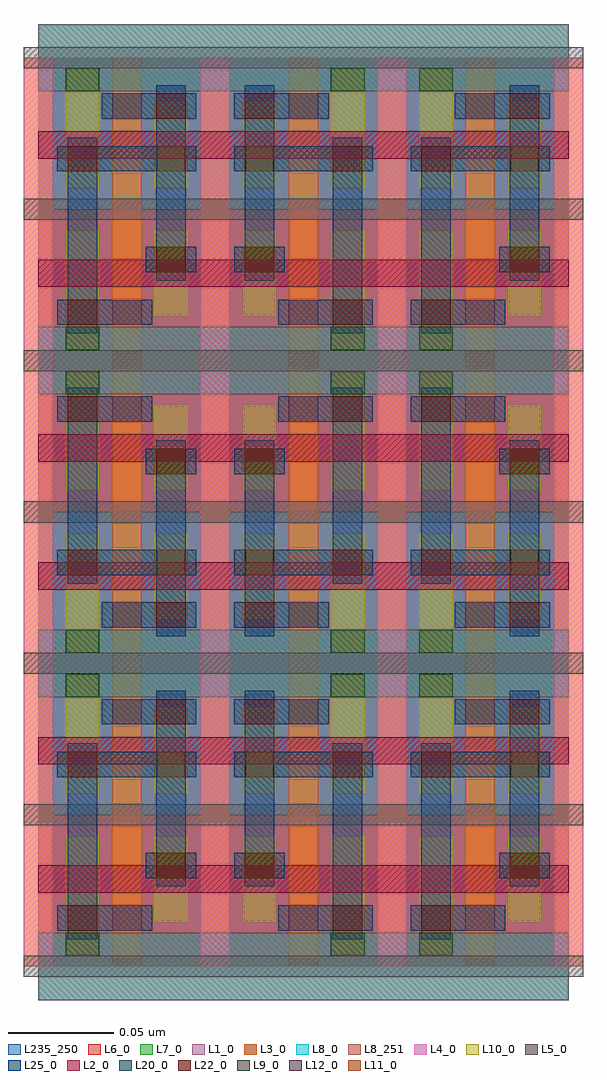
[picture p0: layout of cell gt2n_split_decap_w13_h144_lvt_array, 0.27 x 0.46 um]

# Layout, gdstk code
from math import pi, radians
import gdstk
lib = gdstk.Library(unit=1e-6, precision=5e-10)
def R(c, l, rs):  # rectangles x0, y0, x1, y1
    for r in rs: c.add(gdstk.rectangle(r[:2], r[2:], *l))
def A(c, l, x, y, w, h, nx, ny, dx, dy):  # array of equal rectangles
    R(c, l, [(x+i*dx, y+j*dy, x+i*dx+w, y+j*dy+h) for i in range(nx) for j in range(ny)])
L1_0 = (1, 0)
L2_0 = (2, 0)
L3_0 = (3, 0)
L4_0 = (4, 0)
L5_0 = (5, 0)
L6_0 = (6, 0)
L7_0 = (7, 0)
L8_0 = (8, 0)
L8_251 = (8, 251)
L9_0 = (9, 0)
L10_0 = (10, 0)
L11_0 = (11, 0)
L12_0 = (12, 0)
L20_0 = (20, 0)
L22_0 = (22, 0)
L25_0 = (25, 0)
L235_250 = (235, 250)

gt2n_split_decap_w13_h14 = lib.new_cell('gt2n_split_decap_w13_h144_lvt')
R(gt2n_split_decap_w13_h14, L1_0, [(0,0.072,0.084,0.144)])
R(gt2n_split_decap_w13_h14, L2_0, [(0,0.035,0.084,0.048), (0,0.096,0.084,0.109)])
A(gt2n_split_decap_w13_h14, L3_0, -0.007, 0, 0.014, 0.144, 3, 1, 0.042, 0)
R(gt2n_split_decap_w13_h14, L4_0, [(-0.007,0,0.007,0.144), (0.077,0,0.091,0.144)])
A(gt2n_split_decap_w13_h14, L5_0, -0.007, -0.005, 0.098, 0.01, 1, 3, 0, 0.072)
R(gt2n_split_decap_w13_h14, L6_0, [(0,0,0.084,0.072)])
R(gt2n_split_decap_w13_h14, L7_0, [(0,0.072,0.084,0.144)])
R(gt2n_split_decap_w13_h14, L8_0, [(0,-0.016,0.084,0.016), (0,0.128,0.084,0.16)])
R(gt2n_split_decap_w13_h14, L8_251, [(0,-0.016,0.084,0.016), (0,0.128,0.084,0.16)])
R(gt2n_split_decap_w13_h14, L9_0, [(0.013,0.005,0.029,0.016), (0.013,0.128,0.029,0.139)])
R(gt2n_split_decap_w13_h14, L10_0, [(0.013,0.005,0.029,0.062), (0.055,0.021,0.071,0.062), (0.013,0.082,0.029,0.139), (0.055,0.082,0.071,0.123)])
R(gt2n_split_decap_w13_h14, L11_0, [(0.0565,0.042,0.0695,0.054), (0.0565,0.09,0.0695,0.102)])
R(gt2n_split_decap_w13_h14, L12_0, [(0.035,0.017,0.049,0.029), (0.035,0.115,0.049,0.127)])
R(gt2n_split_decap_w13_h14, L20_0, [(0.009,0.017,0.054,0.029), (0.051,0.042,0.075,0.054), (0.009,0.09,0.075,0.102), (0.03,0.115,0.075,0.127)])
R(gt2n_split_decap_w13_h14, L22_0, [(0.014,0.017,0.028,0.029), (0.056,0.042,0.07,0.054), (0.014,0.09,0.028,0.102), (0.056,0.115,0.07,0.127)])
R(gt2n_split_decap_w13_h14, L25_0, [(0.014,0.013,0.028,0.106), (0.056,0.038,0.07,0.131)])
R(gt2n_split_decap_w13_h14, L235_250, [(0,0,0.084,0.144)])
gt2n_split_decap_w13_h14.add(gdstk.Label('vss', (0.042,0), layer=8, texttype=251))
gt2n_split_decap_w13_h14.add(gdstk.Label('vdd', (0.042,0.144), layer=8, texttype=251))

c_gt2n_split_decap_w13_h14 = lib.new_cell('gt2n_split_decap_w13_h144_lvt_array')
c_gt2n_split_decap_w13_h14.add(gdstk.Reference(gt2n_split_decap_w13_h14, (0,0)))
c_gt2n_split_decap_w13_h14.add(gdstk.Reference(gt2n_split_decap_w13_h14, (0.168,0), rotation=pi, x_reflection=True))
c_gt2n_split_decap_w13_h14.add(gdstk.Reference(gt2n_split_decap_w13_h14, (0.168,0)))
c_gt2n_split_decap_w13_h14.add(gdstk.Reference(gt2n_split_decap_w13_h14, (0,0.288), x_reflection=True))
c_gt2n_split_decap_w13_h14.add(gdstk.Reference(gt2n_split_decap_w13_h14, (0.168,0.288), rotation=pi))
c_gt2n_split_decap_w13_h14.add(gdstk.Reference(gt2n_split_decap_w13_h14, (0.168,0.288), x_reflection=True))
c_gt2n_split_decap_w13_h14.add(gdstk.Reference(gt2n_split_decap_w13_h14, (0,0.288)))
c_gt2n_split_decap_w13_h14.add(gdstk.Reference(gt2n_split_decap_w13_h14, (0.168,0.288), rotation=pi, x_reflection=True))
c_gt2n_split_decap_w13_h14.add(gdstk.Reference(gt2n_split_decap_w13_h14, (0.168,0.288)))

lib.write_gds('gt2n_split_decap_w13_h144_lvt_array.gds')
